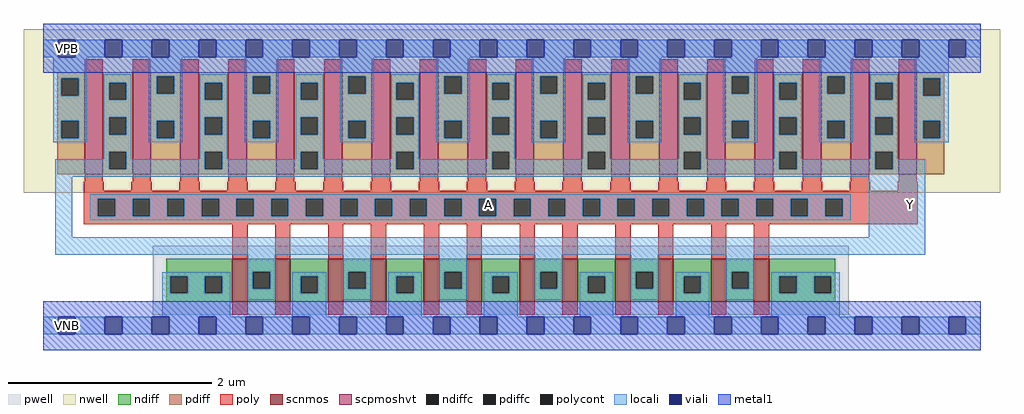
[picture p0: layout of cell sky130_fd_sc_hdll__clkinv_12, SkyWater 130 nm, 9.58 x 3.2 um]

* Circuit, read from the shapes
.subckt sky130_fd_sc_hdll__clkinv_12 A VGND VNB VPB VPWR Y
XM1 Y A VGND VNB sky130_fd_pr__nfet_01v8 w=0.42 l=0.15 m=12
XM2 Y A VPWR VPB sky130_fd_pr__pfet_01v8_hvt w=1 l=0.18 m=18
.ends

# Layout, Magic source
magic
tech sky130A
magscale 1 2
<< nwell >>
rect -38 261 1878 582
<< pwell >>
rect 215 21 1581 157
rect 30 -17 64 17
<< scnmos >>
rect 371 47 401 131
rect 455 47 485 131
rect 559 47 589 131
rect 643 47 673 131
rect 747 47 777 131
rect 831 47 861 131
rect 935 47 965 131
rect 1019 47 1049 131
rect 1123 47 1153 131
rect 1207 47 1237 131
rect 1311 47 1341 131
rect 1395 47 1425 131
<< scpmoshvt >>
rect 81 297 117 497
rect 175 297 211 497
rect 269 297 305 497
rect 363 297 399 497
rect 457 297 493 497
rect 551 297 587 497
rect 645 297 681 497
rect 739 297 775 497
rect 833 297 869 497
rect 927 297 963 497
rect 1021 297 1057 497
rect 1115 297 1151 497
rect 1209 297 1245 497
rect 1303 297 1339 497
rect 1397 297 1433 497
rect 1491 297 1527 497
rect 1585 297 1621 497
rect 1679 297 1715 497
<< ndiff >>
rect 241 97 371 131
rect 241 63 249 97
rect 283 63 317 97
rect 351 63 371 97
rect 241 47 371 63
rect 401 106 455 131
rect 401 72 411 106
rect 445 72 455 106
rect 401 47 455 72
rect 485 97 559 131
rect 485 63 505 97
rect 539 63 559 97
rect 485 47 559 63
rect 589 106 643 131
rect 589 72 599 106
rect 633 72 643 106
rect 589 47 643 72
rect 673 97 747 131
rect 673 63 693 97
rect 727 63 747 97
rect 673 47 747 63
rect 777 106 831 131
rect 777 72 787 106
rect 821 72 831 106
rect 777 47 831 72
rect 861 97 935 131
rect 861 63 881 97
rect 915 63 935 97
rect 861 47 935 63
rect 965 106 1019 131
rect 965 72 975 106
rect 1009 72 1019 106
rect 965 47 1019 72
rect 1049 97 1123 131
rect 1049 63 1069 97
rect 1103 63 1123 97
rect 1049 47 1123 63
rect 1153 106 1207 131
rect 1153 72 1163 106
rect 1197 72 1207 106
rect 1153 47 1207 72
rect 1237 97 1311 131
rect 1237 63 1257 97
rect 1291 63 1311 97
rect 1237 47 1311 63
rect 1341 106 1395 131
rect 1341 72 1351 106
rect 1385 72 1395 106
rect 1341 47 1395 72
rect 1425 97 1555 131
rect 1425 63 1445 97
rect 1479 63 1513 97
rect 1547 63 1555 97
rect 1425 47 1555 63
<< pdiff >>
rect 27 485 81 497
rect 27 451 35 485
rect 69 451 81 485
rect 27 402 81 451
rect 27 368 35 402
rect 69 368 81 402
rect 27 297 81 368
rect 117 477 175 497
rect 117 443 129 477
rect 163 443 175 477
rect 117 409 175 443
rect 117 375 129 409
rect 163 375 175 409
rect 117 341 175 375
rect 117 307 129 341
rect 163 307 175 341
rect 117 297 175 307
rect 211 489 269 497
rect 211 455 223 489
rect 257 455 269 489
rect 211 402 269 455
rect 211 368 223 402
rect 257 368 269 402
rect 211 297 269 368
rect 305 477 363 497
rect 305 443 317 477
rect 351 443 363 477
rect 305 409 363 443
rect 305 375 317 409
rect 351 375 363 409
rect 305 341 363 375
rect 305 307 317 341
rect 351 307 363 341
rect 305 297 363 307
rect 399 489 457 497
rect 399 455 411 489
rect 445 455 457 489
rect 399 402 457 455
rect 399 368 411 402
rect 445 368 457 402
rect 399 297 457 368
rect 493 477 551 497
rect 493 443 505 477
rect 539 443 551 477
rect 493 409 551 443
rect 493 375 505 409
rect 539 375 551 409
rect 493 341 551 375
rect 493 307 505 341
rect 539 307 551 341
rect 493 297 551 307
rect 587 489 645 497
rect 587 455 599 489
rect 633 455 645 489
rect 587 402 645 455
rect 587 368 599 402
rect 633 368 645 402
rect 587 297 645 368
rect 681 477 739 497
rect 681 443 693 477
rect 727 443 739 477
rect 681 409 739 443
rect 681 375 693 409
rect 727 375 739 409
rect 681 341 739 375
rect 681 307 693 341
rect 727 307 739 341
rect 681 297 739 307
rect 775 489 833 497
rect 775 455 787 489
rect 821 455 833 489
rect 775 402 833 455
rect 775 368 787 402
rect 821 368 833 402
rect 775 297 833 368
rect 869 477 927 497
rect 869 443 881 477
rect 915 443 927 477
rect 869 409 927 443
rect 869 375 881 409
rect 915 375 927 409
rect 869 341 927 375
rect 869 307 881 341
rect 915 307 927 341
rect 869 297 927 307
rect 963 489 1021 497
rect 963 455 975 489
rect 1009 455 1021 489
rect 963 402 1021 455
rect 963 368 975 402
rect 1009 368 1021 402
rect 963 297 1021 368
rect 1057 477 1115 497
rect 1057 443 1069 477
rect 1103 443 1115 477
rect 1057 409 1115 443
rect 1057 375 1069 409
rect 1103 375 1115 409
rect 1057 341 1115 375
rect 1057 307 1069 341
rect 1103 307 1115 341
rect 1057 297 1115 307
rect 1151 489 1209 497
rect 1151 455 1163 489
rect 1197 455 1209 489
rect 1151 402 1209 455
rect 1151 368 1163 402
rect 1197 368 1209 402
rect 1151 297 1209 368
rect 1245 477 1303 497
rect 1245 443 1257 477
rect 1291 443 1303 477
rect 1245 409 1303 443
rect 1245 375 1257 409
rect 1291 375 1303 409
rect 1245 341 1303 375
rect 1245 307 1257 341
rect 1291 307 1303 341
rect 1245 297 1303 307
rect 1339 489 1397 497
rect 1339 455 1351 489
rect 1385 455 1397 489
rect 1339 402 1397 455
rect 1339 368 1351 402
rect 1385 368 1397 402
rect 1339 297 1397 368
rect 1433 477 1491 497
rect 1433 443 1445 477
rect 1479 443 1491 477
rect 1433 409 1491 443
rect 1433 375 1445 409
rect 1479 375 1491 409
rect 1433 341 1491 375
rect 1433 307 1445 341
rect 1479 307 1491 341
rect 1433 297 1491 307
rect 1527 489 1585 497
rect 1527 455 1539 489
rect 1573 455 1585 489
rect 1527 402 1585 455
rect 1527 368 1539 402
rect 1573 368 1585 402
rect 1527 297 1585 368
rect 1621 477 1679 497
rect 1621 443 1633 477
rect 1667 443 1679 477
rect 1621 409 1679 443
rect 1621 375 1633 409
rect 1667 375 1679 409
rect 1621 341 1679 375
rect 1621 307 1633 341
rect 1667 307 1679 341
rect 1621 297 1679 307
rect 1715 485 1769 497
rect 1715 451 1727 485
rect 1761 451 1769 485
rect 1715 402 1769 451
rect 1715 368 1727 402
rect 1761 368 1769 402
rect 1715 297 1769 368
<< ndiffc >>
rect 249 63 283 97
rect 317 63 351 97
rect 411 72 445 106
rect 505 63 539 97
rect 599 72 633 106
rect 693 63 727 97
rect 787 72 821 106
rect 881 63 915 97
rect 975 72 1009 106
rect 1069 63 1103 97
rect 1163 72 1197 106
rect 1257 63 1291 97
rect 1351 72 1385 106
rect 1445 63 1479 97
rect 1513 63 1547 97
<< pdiffc >>
rect 35 451 69 485
rect 35 368 69 402
rect 129 443 163 477
rect 129 375 163 409
rect 129 307 163 341
rect 223 455 257 489
rect 223 368 257 402
rect 317 443 351 477
rect 317 375 351 409
rect 317 307 351 341
rect 411 455 445 489
rect 411 368 445 402
rect 505 443 539 477
rect 505 375 539 409
rect 505 307 539 341
rect 599 455 633 489
rect 599 368 633 402
rect 693 443 727 477
rect 693 375 727 409
rect 693 307 727 341
rect 787 455 821 489
rect 787 368 821 402
rect 881 443 915 477
rect 881 375 915 409
rect 881 307 915 341
rect 975 455 1009 489
rect 975 368 1009 402
rect 1069 443 1103 477
rect 1069 375 1103 409
rect 1069 307 1103 341
rect 1163 455 1197 489
rect 1163 368 1197 402
rect 1257 443 1291 477
rect 1257 375 1291 409
rect 1257 307 1291 341
rect 1351 455 1385 489
rect 1351 368 1385 402
rect 1445 443 1479 477
rect 1445 375 1479 409
rect 1445 307 1479 341
rect 1539 455 1573 489
rect 1539 368 1573 402
rect 1633 443 1667 477
rect 1633 375 1667 409
rect 1633 307 1667 341
rect 1727 451 1761 485
rect 1727 368 1761 402
<< poly >>
rect 81 497 117 523
rect 175 497 211 523
rect 269 497 305 523
rect 363 497 399 523
rect 457 497 493 523
rect 551 497 587 523
rect 645 497 681 523
rect 739 497 775 523
rect 833 497 869 523
rect 927 497 963 523
rect 1021 497 1057 523
rect 1115 497 1151 523
rect 1209 497 1245 523
rect 1303 497 1339 523
rect 1397 497 1433 523
rect 1491 497 1527 523
rect 1585 497 1621 523
rect 1679 497 1715 523
rect 81 282 117 297
rect 175 282 211 297
rect 269 282 305 297
rect 363 282 399 297
rect 457 282 493 297
rect 551 282 587 297
rect 645 282 681 297
rect 739 282 775 297
rect 833 282 869 297
rect 927 282 963 297
rect 1021 282 1057 297
rect 1115 282 1151 297
rect 1209 282 1245 297
rect 1303 282 1339 297
rect 1397 282 1433 297
rect 1491 282 1527 297
rect 1585 282 1621 297
rect 1679 282 1715 297
rect 79 265 119 282
rect 173 265 213 282
rect 267 265 307 282
rect 361 265 401 282
rect 455 265 495 282
rect 549 265 589 282
rect 643 265 683 282
rect 737 265 777 282
rect 831 265 871 282
rect 925 265 965 282
rect 1019 265 1059 282
rect 1113 265 1153 282
rect 1207 265 1247 282
rect 1301 265 1341 282
rect 1395 265 1435 282
rect 1489 265 1529 282
rect 1583 265 1623 282
rect 1677 265 1717 282
rect 79 249 1717 265
rect 79 215 107 249
rect 141 215 175 249
rect 209 215 243 249
rect 277 215 311 249
rect 345 215 379 249
rect 413 215 447 249
rect 481 215 515 249
rect 549 215 583 249
rect 617 215 651 249
rect 685 215 719 249
rect 753 215 787 249
rect 821 215 855 249
rect 889 215 923 249
rect 957 215 991 249
rect 1025 215 1059 249
rect 1093 215 1127 249
rect 1161 215 1195 249
rect 1229 215 1263 249
rect 1297 215 1331 249
rect 1365 215 1399 249
rect 1433 215 1467 249
rect 1501 215 1535 249
rect 1569 215 1717 249
rect 79 199 1717 215
rect 371 131 401 199
rect 455 131 485 199
rect 559 131 589 199
rect 643 131 673 199
rect 747 131 777 199
rect 831 131 861 199
rect 935 131 965 199
rect 1019 131 1049 199
rect 1123 131 1153 199
rect 1207 131 1237 199
rect 1311 131 1341 199
rect 1395 131 1425 199
rect 371 21 401 47
rect 455 21 485 47
rect 559 21 589 47
rect 643 21 673 47
rect 747 21 777 47
rect 831 21 861 47
rect 935 21 965 47
rect 1019 21 1049 47
rect 1123 21 1153 47
rect 1207 21 1237 47
rect 1311 21 1341 47
rect 1395 21 1425 47
<< polycont >>
rect 107 215 141 249
rect 175 215 209 249
rect 243 215 277 249
rect 311 215 345 249
rect 379 215 413 249
rect 447 215 481 249
rect 515 215 549 249
rect 583 215 617 249
rect 651 215 685 249
rect 719 215 753 249
rect 787 215 821 249
rect 855 215 889 249
rect 923 215 957 249
rect 991 215 1025 249
rect 1059 215 1093 249
rect 1127 215 1161 249
rect 1195 215 1229 249
rect 1263 215 1297 249
rect 1331 215 1365 249
rect 1399 215 1433 249
rect 1467 215 1501 249
rect 1535 215 1569 249
<< locali >>
rect 0 527 29 561
rect 63 527 121 561
rect 155 527 213 561
rect 247 527 305 561
rect 339 527 397 561
rect 431 527 489 561
rect 523 527 581 561
rect 615 527 673 561
rect 707 527 765 561
rect 799 527 857 561
rect 891 527 949 561
rect 983 527 1041 561
rect 1075 527 1133 561
rect 1167 527 1225 561
rect 1259 527 1317 561
rect 1351 527 1409 561
rect 1443 527 1501 561
rect 1535 527 1593 561
rect 1627 527 1685 561
rect 1719 527 1777 561
rect 1811 527 1840 561
rect 19 485 85 527
rect 19 451 35 485
rect 69 451 85 485
rect 19 402 85 451
rect 19 368 35 402
rect 69 368 85 402
rect 19 360 85 368
rect 119 477 173 493
rect 119 443 129 477
rect 163 443 173 477
rect 119 409 173 443
rect 119 375 129 409
rect 163 375 173 409
rect 119 341 173 375
rect 207 489 273 527
rect 207 455 223 489
rect 257 455 273 489
rect 207 402 273 455
rect 207 368 223 402
rect 257 368 273 402
rect 207 360 273 368
rect 307 477 361 493
rect 307 443 317 477
rect 351 443 361 477
rect 307 409 361 443
rect 307 375 317 409
rect 351 375 361 409
rect 119 326 129 341
rect 23 307 129 326
rect 163 326 173 341
rect 307 341 361 375
rect 395 489 461 527
rect 395 455 411 489
rect 445 455 461 489
rect 395 402 461 455
rect 395 368 411 402
rect 445 368 461 402
rect 395 360 461 368
rect 495 477 549 493
rect 495 443 505 477
rect 539 443 549 477
rect 495 409 549 443
rect 495 375 505 409
rect 539 375 549 409
rect 307 326 317 341
rect 163 307 317 326
rect 351 326 361 341
rect 495 341 549 375
rect 583 489 649 527
rect 583 455 599 489
rect 633 455 649 489
rect 583 402 649 455
rect 583 368 599 402
rect 633 368 649 402
rect 583 360 649 368
rect 683 477 737 493
rect 683 443 693 477
rect 727 443 737 477
rect 683 409 737 443
rect 683 375 693 409
rect 727 375 737 409
rect 495 326 505 341
rect 351 307 505 326
rect 539 326 549 341
rect 683 341 737 375
rect 771 489 837 527
rect 771 455 787 489
rect 821 455 837 489
rect 771 402 837 455
rect 771 368 787 402
rect 821 368 837 402
rect 771 360 837 368
rect 871 477 925 493
rect 871 443 881 477
rect 915 443 925 477
rect 871 409 925 443
rect 871 375 881 409
rect 915 375 925 409
rect 683 326 693 341
rect 539 307 693 326
rect 727 326 737 341
rect 871 341 925 375
rect 959 489 1025 527
rect 959 455 975 489
rect 1009 455 1025 489
rect 959 402 1025 455
rect 959 368 975 402
rect 1009 368 1025 402
rect 959 360 1025 368
rect 1059 477 1113 493
rect 1059 443 1069 477
rect 1103 443 1113 477
rect 1059 409 1113 443
rect 1059 375 1069 409
rect 1103 375 1113 409
rect 871 326 881 341
rect 727 307 881 326
rect 915 326 925 341
rect 1059 341 1113 375
rect 1147 489 1213 527
rect 1147 455 1163 489
rect 1197 455 1213 489
rect 1147 402 1213 455
rect 1147 368 1163 402
rect 1197 368 1213 402
rect 1147 360 1213 368
rect 1247 477 1301 493
rect 1247 443 1257 477
rect 1291 443 1301 477
rect 1247 409 1301 443
rect 1247 375 1257 409
rect 1291 375 1301 409
rect 1059 326 1069 341
rect 915 307 1069 326
rect 1103 326 1113 341
rect 1247 341 1301 375
rect 1335 489 1401 527
rect 1335 455 1351 489
rect 1385 455 1401 489
rect 1335 402 1401 455
rect 1335 368 1351 402
rect 1385 368 1401 402
rect 1335 360 1401 368
rect 1435 477 1489 493
rect 1435 443 1445 477
rect 1479 443 1489 477
rect 1435 409 1489 443
rect 1435 375 1445 409
rect 1479 375 1489 409
rect 1247 326 1257 341
rect 1103 307 1257 326
rect 1291 326 1301 341
rect 1435 341 1489 375
rect 1523 489 1589 527
rect 1523 455 1539 489
rect 1573 455 1589 489
rect 1523 402 1589 455
rect 1523 368 1539 402
rect 1573 368 1589 402
rect 1523 360 1589 368
rect 1623 477 1677 493
rect 1623 443 1633 477
rect 1667 443 1677 477
rect 1623 409 1677 443
rect 1623 375 1633 409
rect 1667 375 1677 409
rect 1435 326 1445 341
rect 1291 307 1445 326
rect 1479 326 1489 341
rect 1623 341 1677 375
rect 1711 485 1777 527
rect 1711 451 1727 485
rect 1761 451 1777 485
rect 1711 402 1777 451
rect 1711 368 1727 402
rect 1761 368 1777 402
rect 1711 360 1777 368
rect 1623 326 1633 341
rect 1479 307 1633 326
rect 1667 326 1677 341
rect 1667 307 1731 326
rect 23 292 1731 307
rect 23 173 57 292
rect 91 249 1585 258
rect 91 215 107 249
rect 141 215 175 249
rect 209 215 243 249
rect 277 215 311 249
rect 345 215 379 249
rect 413 215 447 249
rect 481 215 515 249
rect 549 215 583 249
rect 617 215 651 249
rect 685 215 719 249
rect 753 215 787 249
rect 821 215 855 249
rect 889 215 923 249
rect 957 215 991 249
rect 1025 215 1059 249
rect 1093 215 1127 249
rect 1161 215 1195 249
rect 1229 215 1263 249
rect 1297 215 1331 249
rect 1365 215 1399 249
rect 1433 215 1467 249
rect 1501 215 1535 249
rect 1569 215 1585 249
rect 91 207 1585 215
rect 1620 173 1731 292
rect 23 139 1731 173
rect 401 106 455 139
rect 233 97 367 105
rect 233 63 249 97
rect 283 63 317 97
rect 351 63 367 97
rect 233 17 367 63
rect 401 72 411 106
rect 445 72 455 106
rect 589 106 643 139
rect 401 51 455 72
rect 489 97 555 105
rect 489 63 505 97
rect 539 63 555 97
rect 489 17 555 63
rect 589 72 599 106
rect 633 72 643 106
rect 777 106 831 139
rect 589 51 643 72
rect 677 97 743 105
rect 677 63 693 97
rect 727 63 743 97
rect 677 17 743 63
rect 777 72 787 106
rect 821 72 831 106
rect 965 106 1019 139
rect 777 51 831 72
rect 865 97 931 105
rect 865 63 881 97
rect 915 63 931 97
rect 865 17 931 63
rect 965 72 975 106
rect 1009 72 1019 106
rect 1153 106 1207 139
rect 965 51 1019 72
rect 1053 97 1119 105
rect 1053 63 1069 97
rect 1103 63 1119 97
rect 1053 17 1119 63
rect 1153 72 1163 106
rect 1197 72 1207 106
rect 1341 106 1395 139
rect 1153 51 1207 72
rect 1241 97 1307 105
rect 1241 63 1257 97
rect 1291 63 1307 97
rect 1241 17 1307 63
rect 1341 72 1351 106
rect 1385 72 1395 106
rect 1341 51 1395 72
rect 1429 97 1563 105
rect 1429 63 1445 97
rect 1479 63 1513 97
rect 1547 63 1563 97
rect 1429 17 1563 63
rect 0 -17 29 17
rect 63 -17 121 17
rect 155 -17 213 17
rect 247 -17 305 17
rect 339 -17 397 17
rect 431 -17 489 17
rect 523 -17 581 17
rect 615 -17 673 17
rect 707 -17 765 17
rect 799 -17 857 17
rect 891 -17 949 17
rect 983 -17 1041 17
rect 1075 -17 1133 17
rect 1167 -17 1225 17
rect 1259 -17 1317 17
rect 1351 -17 1409 17
rect 1443 -17 1501 17
rect 1535 -17 1593 17
rect 1627 -17 1685 17
rect 1719 -17 1777 17
rect 1811 -17 1840 17
<< viali >>
rect 29 527 63 561
rect 121 527 155 561
rect 213 527 247 561
rect 305 527 339 561
rect 397 527 431 561
rect 489 527 523 561
rect 581 527 615 561
rect 673 527 707 561
rect 765 527 799 561
rect 857 527 891 561
rect 949 527 983 561
rect 1041 527 1075 561
rect 1133 527 1167 561
rect 1225 527 1259 561
rect 1317 527 1351 561
rect 1409 527 1443 561
rect 1501 527 1535 561
rect 1593 527 1627 561
rect 1685 527 1719 561
rect 1777 527 1811 561
rect 29 -17 63 17
rect 121 -17 155 17
rect 213 -17 247 17
rect 305 -17 339 17
rect 397 -17 431 17
rect 489 -17 523 17
rect 581 -17 615 17
rect 673 -17 707 17
rect 765 -17 799 17
rect 857 -17 891 17
rect 949 -17 983 17
rect 1041 -17 1075 17
rect 1133 -17 1167 17
rect 1225 -17 1259 17
rect 1317 -17 1351 17
rect 1409 -17 1443 17
rect 1501 -17 1535 17
rect 1593 -17 1627 17
rect 1685 -17 1719 17
rect 1777 -17 1811 17
<< metal1 >>
rect 0 561 1840 592
rect 0 527 29 561
rect 63 527 121 561
rect 155 527 213 561
rect 247 527 305 561
rect 339 527 397 561
rect 431 527 489 561
rect 523 527 581 561
rect 615 527 673 561
rect 707 527 765 561
rect 799 527 857 561
rect 891 527 949 561
rect 983 527 1041 561
rect 1075 527 1133 561
rect 1167 527 1225 561
rect 1259 527 1317 561
rect 1351 527 1409 561
rect 1443 527 1501 561
rect 1535 527 1593 561
rect 1627 527 1685 561
rect 1719 527 1777 561
rect 1811 527 1840 561
rect 0 496 1840 527
rect 0 17 1840 48
rect 0 -17 29 17
rect 63 -17 121 17
rect 155 -17 213 17
rect 247 -17 305 17
rect 339 -17 397 17
rect 431 -17 489 17
rect 523 -17 581 17
rect 615 -17 673 17
rect 707 -17 765 17
rect 799 -17 857 17
rect 891 -17 949 17
rect 983 -17 1041 17
rect 1075 -17 1133 17
rect 1167 -17 1225 17
rect 1259 -17 1317 17
rect 1351 -17 1409 17
rect 1443 -17 1501 17
rect 1535 -17 1593 17
rect 1627 -17 1685 17
rect 1719 -17 1777 17
rect 1811 -17 1840 17
rect 0 -48 1840 -17
<< labels >>
flabel locali s 1685 221 1719 255 0 FreeSans 400 0 0 0 Y
port 6 nsew signal output
flabel locali s 857 221 891 255 0 FreeSans 400 0 0 0 A
port 1 nsew signal input
flabel pwell s 30 -17 64 17 0 FreeSans 200 0 0 0 VNB
port 3 nsew ground bidirectional
flabel nwell s 30 527 64 561 0 FreeSans 200 0 0 0 VPB
port 4 nsew power bidirectional
flabel metal1 s 30 -17 64 17 0 FreeSans 200 0 0 0 VGND
port 2 nsew ground bidirectional
flabel metal1 s 30 527 64 561 0 FreeSans 200 0 0 0 VPWR
port 5 nsew power bidirectional
rlabel comment s 0 0 0 0 4 clkinv_12
<< properties >>
string LEFsite unithd
string LEFclass CORE
string FIXED_BBOX 0 0 1840 544
string GDS_FILE $PDKPATH/libs.ref/sky130_fd_sc_hdll/gds/sky130_fd_sc_hdll.gds
string LEFsymmetry X Y R90
string GDS_END 3468102
string GDS_START 3455722
string LEFproperties maskLayoutSubType "abstract" prCellType "standard" originalViewName "layout"
<< end >>
